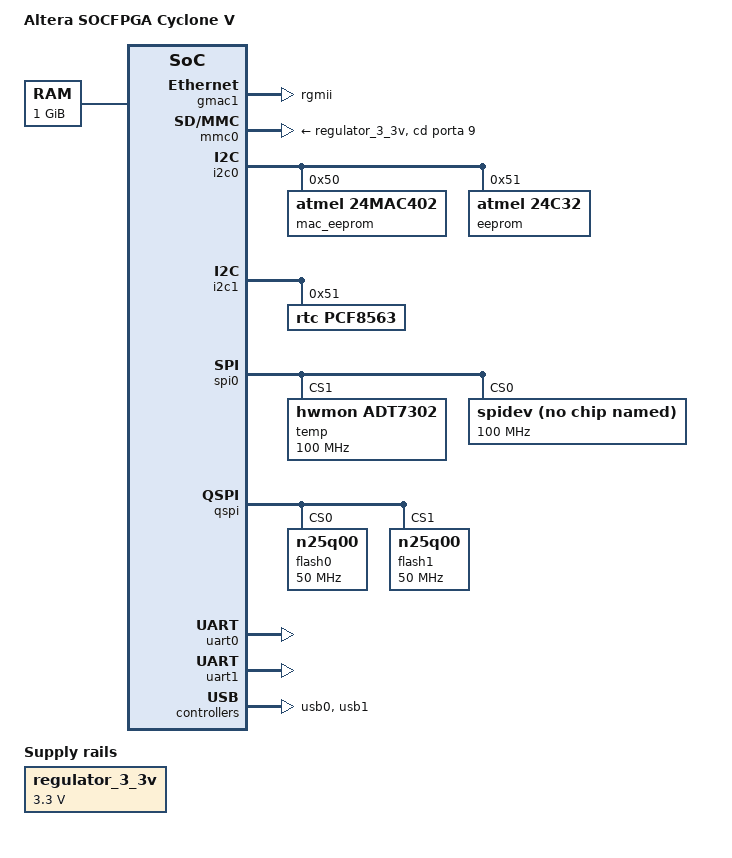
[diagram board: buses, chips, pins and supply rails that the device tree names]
/*
 * Nighthawk device tree for use by u-boot
 */
#include "socfpga_cyclone5.dtsi"

/ {
    model = "Altera SOCFPGA Cyclone V";	/* appended from boardinfo */
    compatible = "altr,socfpga-cyclone5", "altr,socfpga";	/* appended from boardinfo */

    chosen {
        bootargs = "earlyprintk";
        stdout-path = "serial0:115200n8";
    };

    memory {
        name = "memory";
        device_type = "memory";
        reg = <0x00000000 0x40000000>;
    }; //end memory

    aliases {
        ethernet1 = &gmac1;
    }; //end aliases

    soc {
        u-boot,dm-pre-reloc;

        regulator_3_3v: vcc3p3-regulator {
            compatible = "regulator-fixed";	/* appended from boardinfo */
            regulator-name = "3.3V";	/* appended from boardinfo */
            regulator-min-microvolt = <3300000>;	/* appended from boardinfo */
            regulator-max-microvolt = <3300000>;	/* appended from boardinfo */
        }; //end vcc3p3-regulator (regulator_3_3v)
    }; //end soc
};


&gmac1 {
    status = "okay";
    phy-mode = "rgmii";
    snps,phy-addr = < 0xFFFFFFFF >;
    phy-addr = < 0xFFFFFFFF >;
    rxd0-skew-ps = <0>;
    rxd1-skew-ps = <0>;
    rxd2-skew-ps = <0>;
    rxd3-skew-ps = <0>;
    txd0-skew-ps = <0>;
    txd1-skew-ps = <0>;
    txd2-skew-ps = <0>;
    txd3-skew-ps = <0>;
    txen-skew-ps = <0>;
    txc-skew-ps = <3000>;
    rxdv-skew-ps = <0>;
    rxc-skew-ps = <3000>;
    max-frame-size = <3800>;
    tx-fifo-depth = <4096>;	/* embeddedsw.dts.params.tx-fifo-depth type NUMBER */
    rx-fifo-depth = <4096>;	/* embeddedsw.dts.params.rx-fifo-depth type NUMBER */
};

&mmc0 {
    status = "okay";
    cd = <&gpio0 9 0>;	/* appended from boardinfo */
    cd-gpios = <&porta 9 0>;	/* appended from boardinfo */
    vmmc-supply = <&regulator_3_3v>;	/* appended from boardinfo */
    vqmmc-supply = <&regulator_3_3v>;	/* appended from boardinfo */

    slot_0: slot@0 {
        reg = <0>;	/* appended from boardinfo */
        bus-width = <4>;	/* appended from boardinfo */
    }; //end slot@0 (slot_0)
};

&i2c0 {
    status = "ok";
    speed-mode = <0>;

    mac_eeprom@50 {
        compatible = "atmel,24mac402";
        reg = <0x00000050>;
        pagesize = <16>;	/* appended from boardinfo */
    }; //end atmel,24mac402@0x50 (mac_eeprom)

    eeprom@51 {
        compatible = "atmel,24c32";
        reg = <0x00000051>;
        pagesize = <32>;	/* appended from boardinfo */
    }; //end atmel,24c32@0x51 (eeprom)
}; //end i2c@0xffc04000 (hps_0_i2c0)

&i2c1 {
    status = "okay";
    speed-mode = <0>;

    rtc@51 {
        compatible = "rtc,pcf8563";
        reg = <0x51>;
    };
};


&spi0 {
#address-cells = < 1 >;  
    #size-cells = < 0 >;  
    bus-num = < 0 >;   
    num-chipselect = < 4 >;  
    status = "okay";   

    temp@1 {
        compatible = "hwmon,adt7302";
        reg = < 1 >;  
        spi-max-frequency = < 100000000 >; 
        spi-cpha = <1>;	/* appended from boardinfo */
        spi-cpol = <1>;	/* appended from boardinfo */
        enable-dma = < 1 >; 
    };

    spidev@0 {
        compatible = "spidev";
        reg = < 0 >;
        spi-max-frequency = < 100000000 >;
        enable-dma = < 1 >;
    };
};

&qspi {
    compatible = "cadence,qspi";
    u-boot,dm-pre-reloc;
    status = "okay";
    flash0: n25q00@0 {
        u-boot,dm-pre-reloc;
        #address-cells = <1>;
        #size-cells = <1>;
        compatible = "n25q00", "spi-flash";  /* appended from boardinfo */
        reg = <0>;      /* chip select */
        spi-max-frequency = <50000000>;

        cdns,page-size = <256>;
        cdns,block-size = <16>;
        cdns,read-delay = <4>;
        cdns,tshsl-ns = <50>;
        cdns,tsd2d-ns = <50>;
        cdns,tchsh-ns = <4>;
        cdns,tslch-ns = <4>;
        cdns,is-decoded-cs = <0>;
        cdns,trigger-address = <0x00000000>;
        /* u-boot version of cadence_qspi currently doesn't expect the "cdns," prefix */
        page-size = <256>;
        block-size = <16>;
        read-delay = <4>;
        tshsl-ns = <50>;
        tsd2d-ns = <50>;
        tchsh-ns = <4>;
        tslch-ns = <4>;
        is-decoded-cs = <0>;
    };

    flash1: n25q00@1 {
        u-boot,dm-pre-reloc;
        #address-cells = <1>;
        #size-cells = <1>;
        compatible = "n25q00", "spi-flash";
        reg = <1>;      /* chip select */
        spi-max-frequency = <50000000>;

        cdns,page-size = <256>;
        cdns,block-size = <16>;
        cdns,read-delay = <4>;
        cdns,tshsl-ns = <50>;
        cdns,tsd2d-ns = <50>;
        cdns,tchsh-ns = <4>;
        cdns,tslch-ns = <4>;
    }; //end n25q00@1 (flash1)
};

&uart0 {
u-boot,dm-pre-reloc;
    status = "okay";
};

&uart1 {
u-boot,dm-pre-reloc;
    status = "okay";
};

&usb0 {
    status = "okay";
};

&usb1 {
    status = "okay";
};

&gpio0 {
    status = "okay";
};

&gpio1 {
    status = "okay";
};

&gpio2 {
    status = "okay";
};
